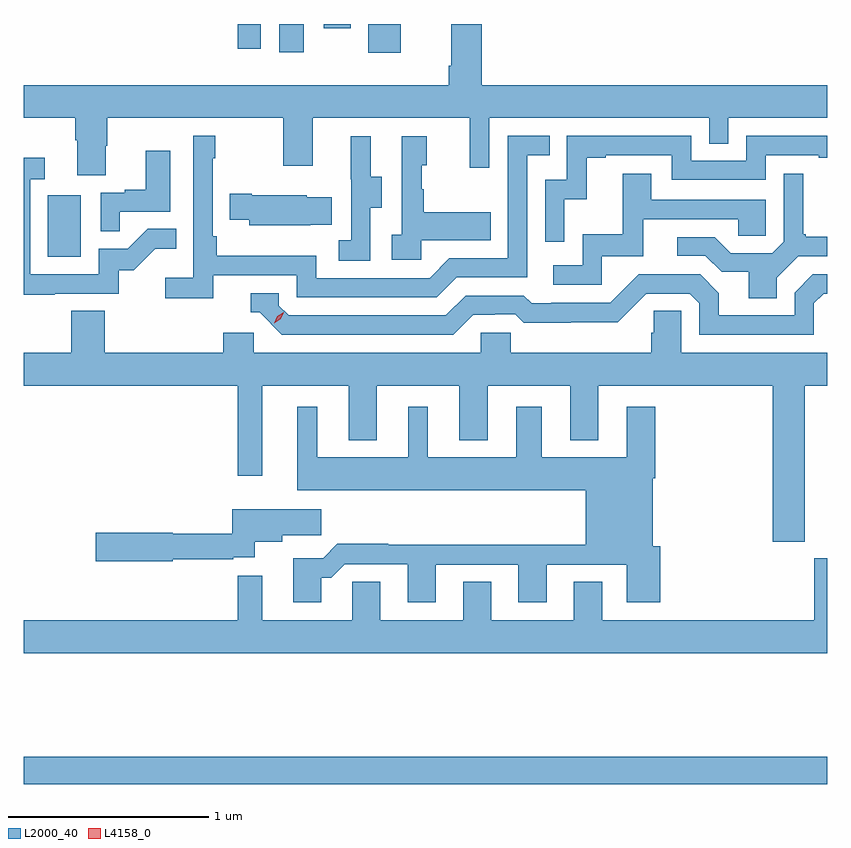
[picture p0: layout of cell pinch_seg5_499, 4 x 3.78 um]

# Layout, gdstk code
import gdstk
lib = gdstk.Library(unit=1e-6, precision=1e-09)
def R(c, l, rs):  # rectangles x0, y0, x1, y1
    for r in rs: c.add(gdstk.rectangle(r[:2], r[2:], *l))
def P(c, l, *ps):  # polygons
    for p in ps: c.add(gdstk.Polygon(p, *l))
L2000_40 = (2000, 40)
L4158_0 = (4158, 0)

pinch_seg5_499 = lib.new_cell('pinch_seg5_499')
R(pinch_seg5_499, L2000_40, [(936.65,842.788,940.65,842.924), (936.77,845.412,936.934,845.719), (938.366,846.429,938.527,846.572), (937.922,846.432,938.044,846.572), (937.714,846.45,937.83,846.572), (938.144,846.552,938.278,846.572)])
P(pinch_seg5_499, L2000_40, [(937.057,845.967),(937.065,845.967),(937.065,846.104),(937.942,846.104),(937.942,845.865),(938.089,845.865),(938.089,846.104),(938.87,846.104),(938.87,845.856),(938.967,845.856),(938.967,846.104),(940.062,846.104),(940.062,845.977),(940.158,845.977),(940.158,846.104),(940.65,846.104),(940.65,846.268),(938.93,846.268),(938.93,846.572),(938.777,846.572),(938.777,846.364),(938.765,846.364),(938.765,846.268),(936.65,846.268),(936.65,846.104),(936.905,846.104),(936.905,845.992),(936.917,845.992),(936.917,845.818),(937.057,845.818)],
  [(937.592,845.322),(938.01,845.322),(938.01,845.211),(938.707,845.211),(938.806,845.31),(939.156,845.31),(939.156,845.919),(939.269,845.919),(939.269,846.015),(939.06,846.015),(939.06,845.406),(938.769,845.406),(938.67,845.307),(938.106,845.307),(938.106,845.419),(937.61,845.419),(937.61,845.515),(937.59,845.515),(937.59,845.903),(937.603,845.903),(937.603,846.016),(937.494,846.016),(937.494,845.308),(937.353,845.308),(937.353,845.206),(937.592,845.206)],
  [(939.342,845.699),(939.452,845.699),(939.452,845.907),(939.547,845.907),(939.547,845.919),(939.876,845.919),(939.876,845.796),(940.344,845.796),(940.344,845.919),(940.607,845.919),(940.607,845.907),(940.65,845.907),(940.65,846.015),(940.248,846.015),(940.248,845.892),(939.972,845.892),(939.972,846.015),(939.354,846.015),(939.354,845.796),(939.246,845.796),(939.246,845.487),(939.342,845.487)],
  [(938.628,845.495),(938.975,845.495),(938.975,845.635),(938.641,845.635),(938.641,845.75),(938.631,845.75),(938.631,845.868),(938.656,845.868),(938.656,846.013),(938.532,846.013),(938.532,845.522),(938.481,845.522),(938.481,845.397),(938.628,845.397)],
  [(938.376,845.656),(938.431,845.656),(938.431,845.811),(938.377,845.811),(938.377,846.013),(938.279,846.013),(938.279,845.799),(938.28,845.799),(938.28,845.495),(938.217,845.495),(938.217,845.392),(938.376,845.392)],
  [(937.127,845.637),(937.378,845.637),(937.378,845.941),(937.256,845.941),(937.256,845.746),(937.153,845.746),(937.153,845.733),(937.032,845.733),(937.032,845.539),(937.127,845.539)],
  [(936.803,845.229),(937.122,845.229),(937.122,845.346),(937.198,845.346),(937.305,845.453),(937.409,845.453),(937.409,845.552),(937.266,845.552),(937.168,845.454),(937.023,845.454),(937.023,845.325),(936.681,845.325),(936.681,845.799),(936.754,845.799),(936.754,845.905),(936.65,845.905),(936.65,845.224),(936.803,845.224)],
  [(939.528,845.415),(939.733,845.415),(939.733,845.601),(940.207,845.601),(940.207,845.517),(940.344,845.517),(940.344,845.697),(939.775,845.697),(939.775,845.827),(939.631,845.827),(939.631,845.524),(939.432,845.524),(939.432,845.37),(939.285,845.37),(939.285,845.274),(939.528,845.274)],
  [(940.399,845.308),(940.506,845.415),(940.65,845.415),(940.65,845.512),(940.543,845.512),(940.543,845.524),(940.531,845.524),(940.531,845.827),(940.434,845.827),(940.434,845.487),(940.377,845.43),(940.171,845.43),(940.09,845.511),(939.903,845.511),(939.903,845.418),(940.044,845.418),(940.124,845.338),(940.259,845.338),(940.259,845.206),(940.399,845.206)],
  [(938.075,845.573),(938.183,845.573),(938.183,845.71),(938.058,845.71),(938.058,845.719),(937.786,845.719),(937.786,845.727),(937.675,845.727),(937.675,845.597),(937.773,845.597),(937.773,845.57),(938.075,845.57)],
  [(938.887,845.124),(938.994,845.124),(938.994,845.127),(939.097,845.127),(939.139,845.085),(939.372,845.085),(939.372,845.087),(939.608,845.087),(939.75,845.229),(939.966,845.229),(940.014,845.181),(940.014,845.025),(940.584,845.025),(940.584,845.181),(940.632,845.229),(940.65,845.229),(940.65,845.325),(940.578,845.325),(940.488,845.235),(940.488,845.121),(940.111,845.121),(940.111,845.231),(940.017,845.325),(939.711,845.325),(939.57,845.184),(939.277,845.184),(939.277,845.181),(939.178,845.181),(939.139,845.22),(938.85,845.22),(938.751,845.121),(937.968,845.121),(937.92,845.169),(937.92,845.232),(937.781,845.232),(937.781,845.136),(937.824,845.136),(937.935,845.025),(938.788,845.025)],
  [(938.925,845.034),(938.925,844.936),(937.794,844.936),(937.794,845.034),(937.643,845.034),(937.643,844.936),(937.052,844.936),(937.052,845.144),(936.887,845.144),(936.887,844.936),(936.65,844.936),(936.65,844.772),(937.716,844.772),(937.716,844.323),(937.837,844.323),(937.837,844.772),(938.267,844.772),(938.267,844.499),(938.407,844.499),(938.407,844.772),(938.819,844.772),(938.819,844.499),(938.959,844.499),(938.959,844.772),(939.371,844.772),(939.371,844.499),(939.511,844.499),(939.511,844.772),(940.379,844.772),(940.379,843.993),(940.539,843.993),(940.539,844.772),(940.65,844.772),(940.65,844.936),(939.924,844.936),(939.924,845.144),(939.787,845.144),(939.787,845.034),(939.773,845.034),(939.773,844.936),(939.075,844.936),(939.075,845.034)],
  [(938.131,843.815),(938.18,843.815),(938.247,843.882),(938.561,843.882),(938.561,843.693),(938.701,843.693),(938.701,843.879),(939.113,843.879),(939.113,843.693),(939.253,843.693),(939.253,843.879),(939.653,843.879),(939.653,843.693),(939.818,843.693),(939.818,843.972),(939.781,843.972),(939.781,844.31),(939.794,844.31),(939.794,844.666),(939.653,844.666),(939.653,844.414),(939.229,844.414),(939.229,844.666),(939.101,844.666),(939.101,844.414),(938.662,844.414),(938.662,844.666),(938.564,844.666),(938.564,844.414),(938.11,844.414),(938.11,844.666),(938.012,844.666),(938.012,844.25),(939.449,844.25),(939.449,843.98),(938.465,843.98),(938.465,843.983),(938.21,843.983),(938.14,843.913),(937.991,843.913),(937.991,843.693),(938.131,843.693)],
  [(937.392,843.906),(937.694,843.906),(937.694,843.918),(937.799,843.918),(937.799,843.995),(937.936,843.995),(937.936,844.027),(938.131,844.027),(938.131,844.156),(937.689,844.156),(937.689,844.034),(937.392,844.034),(937.392,844.04),(937.008,844.04),(937.008,843.898),(937.392,843.898)],
  [(940.65,843.913),(940.586,843.913),(940.586,843.604),(939.529,843.604),(939.529,843.794),(939.389,843.794),(939.389,843.604),(938.977,843.604),(938.977,843.794),(938.837,843.794),(938.837,843.604),(938.425,843.604),(938.425,843.794),(938.286,843.794),(938.286,843.604),(937.837,843.604),(937.837,843.826),(937.716,843.826),(937.716,843.604),(936.65,843.604),(936.65,843.44),(940.65,843.44)])
P(pinch_seg5_499, L4158_0, [(937.896,845.083),(937.896,845.083),(937.912,845.116),(937.943,845.136),(937.944,845.136),(937.944,845.135),(937.927,845.103),(937.897,845.083)])

lib.write_gds('pinch_seg5_499.gds')
